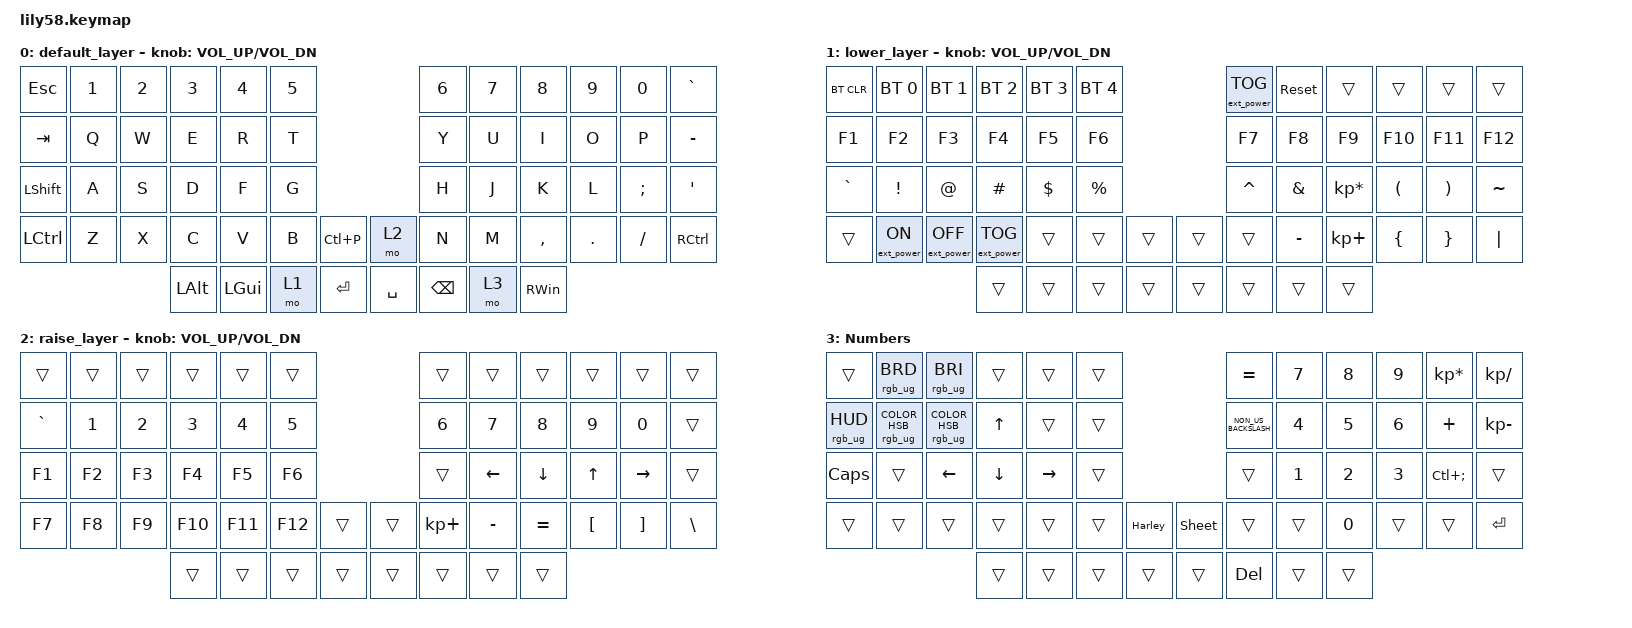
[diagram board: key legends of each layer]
/*
 * Copyright (c) 2020 The ZMK Contributors
 *
 * SPDX-License-Identifier: MIT
 */

#include <behaviors.dtsi>
#include <dt-bindings/zmk/bt.h>
#include <dt-bindings/zmk/ext_power.h>
#include <dt-bindings/zmk/keys.h>
#include <dt-bindings/zmk/rgb.h>

/ {
    combos {
        compatible = "zmk,combos";

        Layer_2 {
            bindings = <&mo 3>;
            key-positions = <51 56>;
        };

        new_combo {
            bindings = <&sys_reset>;
            key-positions = <0 1>;
        };
    };

    macros {
        Sheet: Sheet {
            compatible = "zmk,behavior-macro";
            label = "SHEET";
            #binding-cells = <0>;
            bindings = <&kp SPACE &kp LS(S) &kp H &kp E &kp E &kp T &kp S>;
            wait-ms = <5>;
        };
        Harley: Harley {
            compatible = "zmk,behavior-macro";
            label = "HARLEY";
            #binding-cells = <0>;
            bindings = <&kp LS(H) &kp A &kp R &kp L &kp E &kp Y &kp N0 &kp N7 &kp AMPERSAND &kp ENTER>;
        };
    };

    keymap {
        compatible = "zmk,keymap";

        default_layer {
            // ------------------------------------------------------------------------------------------------------------
            // |  ESC  |  1  |  2  |  3   |  4   |  5   |                   |  6   |  7    |  8    |  9   |   0   |   `   |
            // |  TAB  |  Q  |  W  |  E   |  R   |  T   |                   |  Y   |  U    |  I    |  O   |   P   |   -   |
            // |  CTRL |  A  |  S  |  D   |  F   |  G   |                   |  H   |  J    |  K    |  L   |   ;   |   '   |
            // | SHIFT |  Z  |  X  |  C   |  V   |  B   |   "["  |  |  "]"  |  N   |  M    |  ,    |  .   |   /   | SHIFT |
            //                     | ALT  | GUI  | LOWER|  SPACE |  | ENTER | RAISE| BSPC  | GUI   |

            bindings = <
&kp ESC           &kp N1  &kp N2  &kp N3    &kp N4    &kp N5                        &kp N6         &kp N7  &kp N8     &kp N9   &kp N0    &kp GRAVE
&kp TAB           &kp Q   &kp W   &kp E     &kp R     &kp T                         &kp Y          &kp U   &kp I      &kp O    &kp P     &kp MINUS
&kp LSHFT         &kp A   &kp S   &kp D     &kp F     &kp G                         &kp H          &kp J   &kp K      &kp L    &kp SEMI  &kp SQT
&kp LEFT_CONTROL  &kp Z   &kp X   &kp C     &kp V     &kp B   &kp LC(P)  &mo 2      &kp N          &kp M   &kp COMMA  &kp DOT  &kp FSLH  &kp RIGHT_CONTROL
                                  &kp LALT  &kp LGUI  &mo 1   &kp ENTER  &kp SPACE  &kp BACKSPACE  &mo 3   &kp RWIN
            >;

            sensor-bindings = <&inc_dec_kp C_VOL_UP C_VOL_DN>;
        };

        lower_layer {
            // ------------------------------------------------------------------------------------------------------------
            // | BTCLR | BT1 | BT2 |  BT3 |  BT4 |  BT5 |                   |      |       |       |      |       |       |
            // |  F1   |  F2 |  F3 |  F4  |  F5  |  F6  |                   |  F7  |  F8   |  F9   |  F10 |  F11  |  F12  |
            // |   `   |  !  |  @  |  #   |  $   |  %   |                   |  ^   |  &    |  *    |  (   |   )   |   ~   |
            // |       |     |     |      |      |      |        |  |       |      |  _    |  +    |  {   |   }   |  "|"  |
            //                     |      |      |      |        |  |       |      |       |       |

            bindings = <
&bt BT_CLR  &bt BT_SEL 0      &bt BT_SEL 1       &bt BT_SEL 2       &bt BT_SEL 3  &bt BT_SEL 4                  &ext_power EP_TOG  &sys_reset  &trans           &trans    &trans    &trans
&kp F1      &kp F2            &kp F3             &kp F4             &kp F5        &kp F6                        &kp F7             &kp F8      &kp F9           &kp F10   &kp F11   &kp F12
&kp GRAVE   &kp EXCL          &kp AT             &kp HASH           &kp DOLLAR    &kp PRCNT                     &kp CARET          &kp AMPS    &kp KP_MULTIPLY  &kp LPAR  &kp RPAR  &kp TILDE
&trans      &ext_power EP_ON  &ext_power EP_OFF  &ext_power EP_TOG  &trans        &trans        &trans  &trans  &trans             &kp MINUS   &kp KP_PLUS      &kp LBRC  &kp RBRC  &kp PIPE
                                                 &trans             &trans        &trans        &trans  &trans  &trans             &trans      &trans
            >;

            sensor-bindings = <&inc_dec_kp C_VOL_UP C_VOL_DN>;
        };

        raise_layer {
            // ------------------------------------------------------------------------------------------------------------
            // |       |     |     |      |      |      |                   |      |       |       |      |       |       |
            // |   `   |  1  |  2  |  3   |  4   |  5   |                   |  6   |   7   |   8   |  9   |   0   |       |
            // |   F1  |  F2 |  F3 |  F4  |  F5  |  F6  |                   |      |   <-  |   v   |  ^   |  ->   |       |
            // |   F7  |  F8 |  F9 |  F10 |  F11 |  F12 |        |  |       |  +   |   -   |   =   |  [   |   ]   |   \   |
            //                     |      |      |      |        |  |       |      |       |       |

            bindings = <
&trans     &trans  &trans  &trans   &trans   &trans                   &trans       &trans     &trans     &trans    &trans     &trans
&kp GRAVE  &kp N1  &kp N2  &kp N3   &kp N4   &kp N5                   &kp N6       &kp N7     &kp N8     &kp N9    &kp N0     &trans
&kp F1     &kp F2  &kp F3  &kp F4   &kp F5   &kp F6                   &trans       &kp LEFT   &kp DOWN   &kp UP    &kp RIGHT  &trans
&kp F7     &kp F8  &kp F9  &kp F10  &kp F11  &kp F12  &trans  &trans  &kp KP_PLUS  &kp MINUS  &kp EQUAL  &kp LBKT  &kp RBKT   &kp BSLH
                           &trans   &trans   &trans   &trans  &trans  &trans       &trans     &trans
            >;

            sensor-bindings = <&inc_dec_kp C_VOL_UP C_VOL_DN>;
        };

        Numbers {
            bindings = <
&trans           &rgb_ug RGB_BRD                 &rgb_ug RGB_BRI                 &trans          &trans           &trans                   &kp EQUAL             &kp NUMBER_7  &kp NUMBER_8  &kp NUMBER_9  &kp KP_MULTIPLY    &kp KP_DIVIDE
&rgb_ug RGB_HUD  &rgb_ug RGB_COLOR_HSB(0,86,51)  &rgb_ug RGB_COLOR_HSB(0,23,91)  &kp UP_ARROW    &trans           &trans                   &kp NON_US_BACKSLASH  &kp NUMBER_4  &kp NUMBER_5  &kp NUMBER_6  &kp PLUS           &kp KP_MINUS
&kp CAPS         &trans                          &kp LEFT_ARROW                  &kp DOWN_ARROW  &kp RIGHT_ARROW  &trans                   &trans                &kp NUMBER_1  &kp NUMBER_2  &kp NUMBER_3  &kp LC(SEMICOLON)  &trans
&trans           &trans                          &trans                          &trans          &trans           &trans  &Harley  &Sheet  &trans                &trans        &kp NUMBER_0  &trans        &trans             &kp ENTER
                                                                                 &trans          &trans           &trans  &trans   &trans  &kp DEL               &trans        &trans
            >;
        };
    };
};
